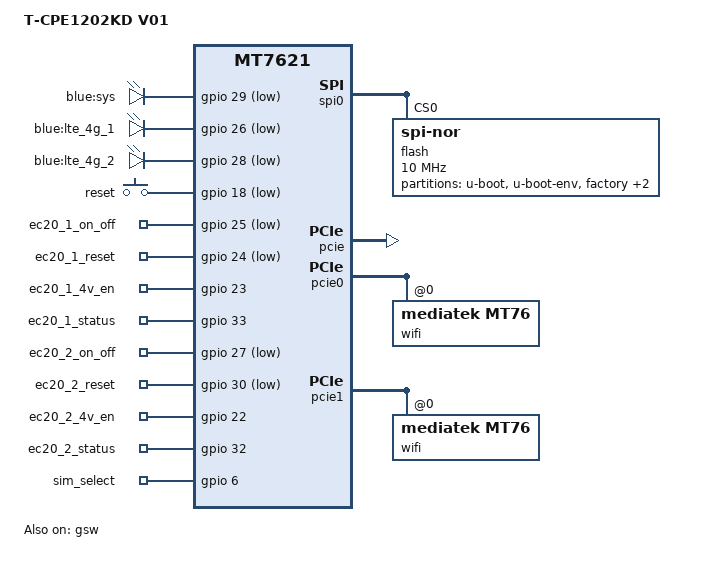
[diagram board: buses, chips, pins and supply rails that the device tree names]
/dts-v1/;

#include "mt7621.dtsi"

#include <dt-bindings/gpio/gpio.h>
#include <dt-bindings/input/input.h>

/ {
	compatible = "xwrt,t-cpe1202kd-v01", "mediatek,mt7621-soc";
	model = "T-CPE1202KD V01";

	aliases {
		led-boot = &led_sys;
		led-failsafe = &led_sys;
		led-running = &led_sys;
		led-upgrade = &led_sys;
		label-mac-device = &gmac0;
	};

	chosen {
		bootargs = "console=ttyS0,57600";
	};

	leds {
		compatible = "gpio-leds";

		led_sys: sys {
			label = "blue:sys";
			gpios = <&gpio 29 GPIO_ACTIVE_LOW>;
		};

		lte_4g_1 {
			label = "blue:lte_4g_1";
			gpios = <&gpio 26 GPIO_ACTIVE_LOW>;
		};

		lte_4g_2 {
			label = "blue:lte_4g_2";
			gpios = <&gpio 28 GPIO_ACTIVE_LOW>;
		};
	};

	keys {
		compatible = "gpio-keys";

		reset {
			label = "reset";
			gpios = <&gpio 18 GPIO_ACTIVE_LOW>;
			linux,code = <KEY_RESTART>;
		};
	};

	gpio_export {
		compatible = "gpio-export";
		#size-cells = <0>;

		ec20_1_on_off {
			gpio-export,name = "ec20_1_on_off";
			gpio-export,output = <1>; //set default not active
			gpios = <&gpio 25 GPIO_ACTIVE_LOW>;
		};

		ec20_1_reset {
			gpio-export,name = "ec20_1_reset";
			gpio-export,output = <1>; //set default not active
			gpios = <&gpio 24 GPIO_ACTIVE_LOW>;
		};

		ec20_1_4v_en {
			gpio-export,name = "ec20_1_4v_en";
			gpio-export,output = <0>; //set default not active
			gpios = <&gpio 23 GPIO_ACTIVE_HIGH>;
		};

		ec20_1_status {
			gpio-export,name = "ec20_1_status";
			gpios = <&gpio 33 GPIO_ACTIVE_HIGH>;
		};

		ec20_2_on_off {
			gpio-export,name = "ec20_2_on_off";
			gpio-export,output = <1>;
			gpios = <&gpio 27 GPIO_ACTIVE_LOW>;
		};

		ec20_2_reset {
			gpio-export,name = "ec20_2_reset";
			gpio-export,output = <1>;
			gpios = <&gpio 30 GPIO_ACTIVE_LOW>;
		};

		ec20_2_4v_en {
			gpio-export,name = "ec20_2_4v_en";
			gpio-export,output = <0>;
			gpios = <&gpio 22 GPIO_ACTIVE_HIGH>;
		};

		ec20_2_status {
			gpio-export,name = "ec20_2_status";
			gpios = <&gpio 32 GPIO_ACTIVE_HIGH>;
		};

		sim_select {
			gpio-export,name = "sim_select";
			gpio-export,output = <0>; //set default not active
			gpios = <&gpio 6 GPIO_ACTIVE_HIGH>;
		};
	};
};

&spi0 {
	status = "okay";

	flash@0 {
		compatible = "jedec,spi-nor";
		reg = <0>;
		spi-max-frequency = <10000000>;

		partitions {
			compatible = "fixed-partitions";
			#address-cells = <1>;
			#size-cells = <1>;

			partition@0 {
				label = "u-boot";
				reg = <0x0 0x30000>;
				read-only;
			};

			partition@30000 {
				label = "u-boot-env";
				reg = <0x30000 0x10000>;
				read-only;
			};

			factory: partition@40000 {
				label = "factory";
				reg = <0x40000 0x10000>;
			};

			partition@50000 {
				compatible = "denx,uimage";
				label = "firmware";
				reg = <0x50000 0xfa0000>;
			};

			partition@ff0000 {
				label = "fota";
				reg = <0xff0000 0x10000>;
			};
		};
	};
};

&pcie {
	status = "okay";
};

&pcie0 {
	wifi@0,0 {
		compatible = "mediatek,mt76";
		reg = <0x0 0 0 0 0>;
		mediatek,mtd-eeprom = <&factory 0x0>;
		ieee80211-freq-limit = <2400000 2500000>;

		led {
			led-sources = <0>;
			led-active-low;
		};
	};
};

&pcie1 {
	wifi@0,0 {
		compatible = "mediatek,mt76";
		reg = <0x0 0 0 0 0>;
		mediatek,mtd-eeprom = <&factory 0x8000>;
		ieee80211-freq-limit = <5000000 6000000>;

		led {
			led-sources = <2>;
			led-active-low;
		};
	};
};

&gmac0 {
        mtd-mac-address = <&factory 0x28>;
        nvmem-cells = <&macaddr_factory_28>;
        nvmem-cell-names = "mac-address";
};

&ethernet {
	pinctrl-0 = <&mdio_pins>, <&rgmii1_pins>;
};

&switch0 {
	/* must delete compatible property */
	/delete-property/ compatible;
};

&gsw {
        compatible = "mediatek,mt753x";
        status = "okay";

        mediatek,mdio = <&mdio>;
        mediatek,portmap = "llllw";
        mt7530,direct-phy-access;
        resets = <&rstctrl 2>;
        reset-names = "mcm";
        mediatek,mcm;

        #address-cells = <1>;
        #size-cells = <0>;

        /*
        port5: port@5 {
                compatible = "mediatek,mt753x-port";
                reg = <5>;
                phy-mode = "rgmii";
                fixed-link {
                        speed = <1000>;
                        full-duplex;
                };
        };
        */

        port6: port@6 {
                compatible = "mediatek,mt753x-port";
                reg = <6>;
                phy-mode = "rgmii";
                fixed-link {
                        speed = <1000>;
                        full-duplex;
                };
        };
};

&state_default {
	gpio {
		groups = "rgmii2", "i2c", "uart2", "uart3", "wdt";
		function = "gpio";
	};
};

&factory {
	compatible = "nvmem-cells";
	#address-cells = <1>;
	#size-cells = <1>;

	macaddr_factory_28: macaddr@28 {
		reg = <0x28 0x6>;
	};
};
